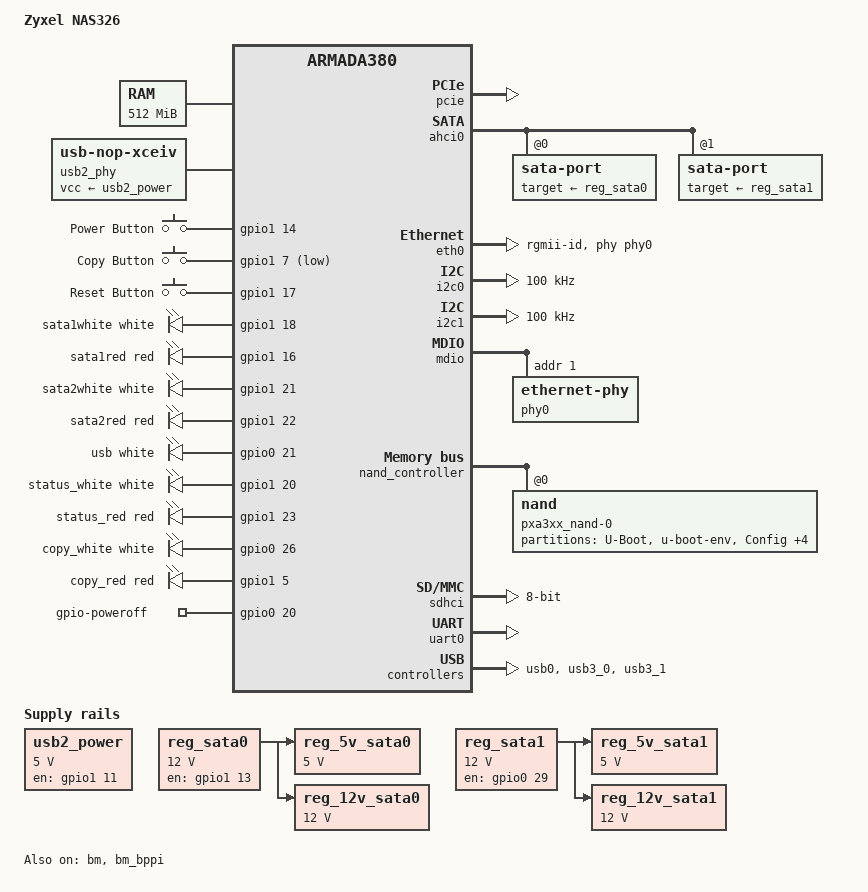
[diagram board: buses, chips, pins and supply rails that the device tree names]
// SPDX-License-Identifier: GPL-2.0-or-later OR MIT

/dts-v1/;

#include <dt-bindings/gpio/gpio.h>
#include <dt-bindings/input/input.h>
#include <dt-bindings/leds/common.h>
#include "armada-380.dtsi"

/ {
	model = "Zyxel NAS326";
	compatible = "zyxel,nas326", "marvell,armada380";

	aliases {
		led-boot = &status_white;
		led-failsafe = &status_red;
		led-running = &status_white;
		led-upgrade = &status_white;
		label-mac-device = &eth0;
	};

	chosen {
		stdout-path = "serial0:115200n8";
		append-rootblock = "nullparameter="; /* override the bootloader args */
	};

	memory@0 {
		device_type = "memory";
		reg = <0x00000000 0x20000000>; /* 512MB */
	};

	soc {
		ranges = <MBUS_ID(0xf0, 0x01) 0 0xf1000000 0x100000
			  MBUS_ID(0x01, 0x1d) 0 0xfff00000 0x100000
			  MBUS_ID(0x09, 0x19) 0 0xf1100000 0x10000
			  MBUS_ID(0x09, 0x15) 0 0xf1110000 0x10000
			  MBUS_ID(0x0c, 0x04) 0 0xf1200000 0x100000>;

		internal-regs {
			timer@c200 {
				status = "okay";
			};

			pcie {
				status = "okay";

				pcie@1,0 {
					status = "okay";
				};

				pcie@2,0 {
					status = "okay";
				};
			};
		};
	};

	usb2_phy: usb2_phy {
		compatible = "usb-nop-xceiv";
		vcc-supply = <&usb2_power>;
	};

	gpio-keys {
		compatible = "gpio-keys";
		pinctrl-names = "default";
		pinctrl-0 = <&button_pins>;

		power {
			label = "Power Button";
			linux,code = <KEY_POWER>;
			gpios = <&gpio1 14 GPIO_ACTIVE_HIGH>;
		};

		copy {
			label = "Copy Button";
			linux,code = <KEY_COPY>;
			gpios = <&gpio1 7 GPIO_ACTIVE_LOW>;
		};

		reset {
			label = "Reset Button";
			linux,code = <KEY_RESTART>;
			gpios = <&gpio1 17 GPIO_ACTIVE_HIGH>;
		};
	};

	leds {
		compatible = "gpio-leds";
		pinctrl-names = "default";
		pinctrl-0 = <&led_pins>;

		sata1white {
			color = <LED_COLOR_ID_WHITE>;
			function = LED_FUNCTION_DISK_ACTIVITY;
			function-enumerator = <1>;
			gpios = <&gpio1 18 GPIO_ACTIVE_HIGH>;
			linux,default-trigger = "ata1";
		};

		sata1red {
			color = <LED_COLOR_ID_RED>;
			function = LED_FUNCTION_DISK_ERR;
			function-enumerator = <1>;
			gpios = <&gpio1 16 GPIO_ACTIVE_HIGH>;
		};

		sata2white {
			color = <LED_COLOR_ID_WHITE>;
			function = LED_FUNCTION_DISK_ACTIVITY;
			function-enumerator = <2>;
			gpios = <&gpio1 21 GPIO_ACTIVE_HIGH>;
			linux,default-trigger = "ata2";
		};

		sata2red {
			color = <LED_COLOR_ID_RED>;
			function = LED_FUNCTION_DISK_ERR;
			function-enumerator = <2>;
			gpios = <&gpio1 22 GPIO_ACTIVE_HIGH>;
		};

		usb {
			color = <LED_COLOR_ID_WHITE>;
			function = LED_FUNCTION_USB;
			gpios = <&gpio0 21 GPIO_ACTIVE_HIGH>;
			linux,default-trigger = "usb-host";
		};

		status_white: status_white {
			color = <LED_COLOR_ID_WHITE>;
			function = LED_FUNCTION_STATUS;
			gpios = <&gpio1 20 GPIO_ACTIVE_HIGH>;
		};

		status_red: status_red {
			color = <LED_COLOR_ID_RED>;
			function = LED_FUNCTION_STATUS;
			gpios = <&gpio1 23 GPIO_ACTIVE_HIGH>;
		};

		copy_white {
			color = <LED_COLOR_ID_WHITE>;
			function = "copy";
			gpios = <&gpio0 26 GPIO_ACTIVE_HIGH>;
		};

		copy_red {
			color = <LED_COLOR_ID_RED>;
			function = "copy";
			gpios = <&gpio1 5 GPIO_ACTIVE_HIGH>;
		};
	};

	regulators {
		compatible = "simple-bus";
		#address-cells = <1>;
		#size-cells = <0>;

		usb2_power: regulator@1 {
			compatible = "regulator-fixed";
			reg = <1>;
			regulator-name = "USB2 Power";
			regulator-min-microvolt = <5000000>;
			regulator-max-microvolt = <5000000>;
			enable-active-high;
			regulator-always-on;
			regulator-boot-on;
			gpio = <&gpio1 11 GPIO_ACTIVE_HIGH>;
		};

		reg_sata0: regulator@2 {
			compatible = "regulator-fixed";
			regulator-name = "pwr_en_sata0";
			regulator-min-microvolt = <12000000>;
			regulator-max-microvolt = <12000000>;
			enable-active-high;
			regulator-boot-on;
			gpio = <&gpio1 13 GPIO_ACTIVE_HIGH>;
		};

		reg_5v_sata0: v5-sata0 {
			compatible = "regulator-fixed";
			regulator-name = "v5.0-sata0";
			regulator-min-microvolt = <5000000>;
			regulator-max-microvolt = <5000000>;
			vin-supply = <&reg_sata0>;
		};

		reg_12v_sata0: v12-sata0 {
			compatible = "regulator-fixed";
			regulator-name = "v12.0-sata0";
			regulator-min-microvolt = <12000000>;
			regulator-max-microvolt = <12000000>;
			vin-supply = <&reg_sata0>;
		};

		reg_sata1: regulator@3 {
			regulator-name = "pwr_en_sata1";
			compatible = "regulator-fixed";
			regulator-min-microvolt = <12000000>;
			regulator-max-microvolt = <12000000>;
			enable-active-high;
			regulator-boot-on;
			gpio = <&gpio0 29 GPIO_ACTIVE_HIGH>;
		};

		reg_5v_sata1: v5-sata1 {
			compatible = "regulator-fixed";
			regulator-name = "v5.0-sata1";
			regulator-min-microvolt = <5000000>;
			regulator-max-microvolt = <5000000>;
			vin-supply = <&reg_sata1>;
		};

		reg_12v_sata1: v12-sata1 {
			compatible = "regulator-fixed";
			regulator-name = "v12.0-sata1";
			regulator-min-microvolt = <12000000>;
			regulator-max-microvolt = <12000000>;
			vin-supply = <&reg_sata1>;
		};
	};

	gpio-poweroff {
		compatible = "gpio-poweroff";
		pinctrl-0 = <&pwr_off>;
		pinctrl-names = "default";
		gpios = <&gpio0 20 GPIO_ACTIVE_HIGH>;
	};
};

&ahci0 {
	status = "okay";
	#address-cells = <1>;
	#size-cells = <0>;

	sata-port@0 {
		reg = <0>;
		target-supply = <&reg_sata0>;
		#thermal-sensor-cells = <0>;
	};

	sata-port@1 {
		reg = <1>;
		target-supply = <&reg_sata1>;
		#thermal-sensor-cells = <1>;
	};
};

&bm {
	status = "okay";
};

&bm_bppi {
	status = "okay";
};

&eth0 {
	status = "okay";

	pinctrl-names = "default";
	pinctrl-0 = <&ge0_rgmii_pins>;
	phy = <&phy0>;
	phy-mode = "rgmii-id";
};

&i2c0 {
	status = "okay";
	clock-frequency = <100000>;
};

&i2c1 {
	status = "okay";
	clock-frequency = <100000>;
};

&mdio {
	phy0: ethernet-phy@1 {
		marvell,reg-init = <0x01 0x16 0x00 0x03 0x01 0x10 0x00 0x1817 0x01 0x11 0x00 0x442a 0x01 0x16 0x00 0x00 0x01 0x00 0x00 0x1140 0x01 0x04 0x00 0x1e1 0x01 0x10 0x00 0x3860 0x01 0x00 0x00 0x9140>;
		reg = <1>;
	};
};

&nand_controller {
	status = "okay";

	nand: nand@0 {
		reg = <0>;
		label = "pxa3xx_nand-0";
		nand-rb = <0>;
		marvell,nand-keep-config;
		nand-on-flash-bbt;
		nand-ecc-strength = <4>;
		nand-ecc-step-size = <512>;

		partitions {
			compatible = "fixed-partitions";
			#address-cells = <1>;
			#size-cells = <1>;

			partition@0 {
				label = "U-Boot";
				reg = <0x0 0x200000>;
				read-only;
			};

			partition@200000 {
				label = "u-boot-env";
				reg = <0x200000 0x200000>;
			};

			partition@400000 {
				label = "Config";
				reg = <0x400000 0xa00000>;
				read-only;
			};

			partition@e00000 {
				label = "kernel";
				reg = <0xe00000 0xf00000>;/*  15 MB */
			};

			partition@1d00000 {
				label = "ubi";
				reg = <0x1d00000 0x6a00000>;/*  106 MB */
			};

			partition@8700000 {
				label = "Kernel-2";
				reg = <0x8700000 0xf00000>;
				read-only;
			};

			partition@9600000 {
				label = "RootFS-2";
				reg = <0x9600000 0x6a00000>;
				read-only;
			};
		};
	};
};

&pinctrl {
	button_pins: button_pins {
		marvell,pins = "mpp39", "mpp46", "mpp49";
		marvell,function = "gpio";
	};

	led_pins: led_pins {
		marvell,pins = "mpp21", "mpp26", "mpp37",
					"mpp48", "mpp50", "mpp52",
					"mpp53", "mpp54", "mpp55";
		marvell,function = "gpio";
	};

	pwr_off: pwr_off {
		marvell,pins = "mpp20";
		marvell,function = "gpio";
	};
};

&sdhci {
	broken-cd;
	wp-inverted;
	bus-width = <8>;
	status = "okay";
};

&uart0 {
	status = "okay";
};

&usb0 {
	status = "okay";
};

&usb3_0 {
	status = "okay";
};

&usb3_1 {
	status = "okay";
};
